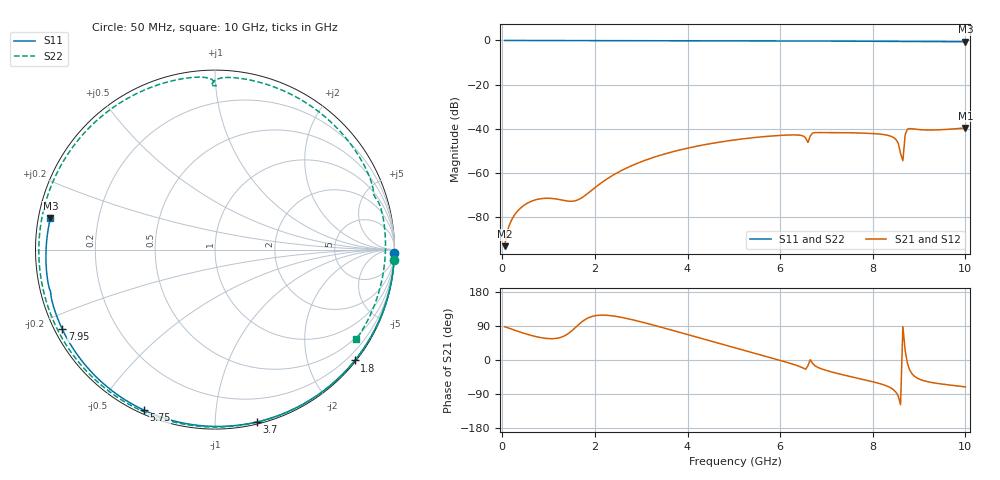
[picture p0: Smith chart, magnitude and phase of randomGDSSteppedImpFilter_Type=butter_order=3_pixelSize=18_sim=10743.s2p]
! freq	dB(S11)	phase(S11)	dB(S12)	phase(S12)
!  dB(S21)	phase(S21)	dB(S22)	phase(S22)
!S-par simulation data
#  GHz  S  DB  R 50
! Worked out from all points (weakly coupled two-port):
!   200 points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, 50 MHz to 10 GHz, reference 50 ohm
!   highest |S21| = -39.61 dB at 10 GHz (marker M1); lowest = -93.2 dB at 50 MHz (marker M2)
!   lowest |S11| = -0.6 dB at 10 GHz (marker M3), VSWR 29.14, Z = 1.73 + j4.74 ohm
!   |S11| at or under -10 dB: nowhere
!   |S22| runs from -0.8 to 0.0 dB; largest |S21 - S12| = 0
!   S11 on the Smith chart (normalised r, x): 50 MHz: open; 1.8 GHz: 0.03, -2.87; 3.7 GHz: 0.02, -1.27; 5.75 GHz: 0.02, -0.65; 7.95 GHz: 0.02, -0.24; 10 GHz: 0.03, +0.09
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0.05  -0.00 -1.1  -93.25 87.9  -93.25 87.9  -0.00 -3.3
0.45  -0.01 -9.8  -75.01 71.2  -75.01 71.2  -0.04 -29.3
0.9  -0.02 -19.4  -71.58 57.7  -71.58 57.7  -0.07 -57.0
1.5  -0.04 -32.1  -72.90 76.9  -72.90 76.9  -0.10 -89.8
1.75  -0.05 -37.4  -70.84 103.6  -70.84 103.6  -0.11 -102.0
1.8  -0.05 -38.4  -70.07 107.5  -70.07 107.5  -0.11 -104.4
2.6  -0.07 -54.8  -58.67 111.9  -58.67 111.9  -0.13 -138.3
3.4  -0.09 -70.6  -52.11 87.6  -52.11 87.6  -0.15 -167.1
3.7  -0.10 -76.3  -50.34 77.4  -50.34 77.4  -0.16 -177.0
5.05  -0.16 -101.4  -44.99 31.2  -44.99 31.2  -0.21 140.5
5.75  -0.19 -113.9  -43.42 7.4  -43.42 7.4  -0.24 118.6
6.45  -0.24 -126.2  -43.02 -18.7  -43.02 -18.7  -0.31 95.2
6.6  -0.25 -128.8  -46.23 -15.1  -46.23 -15.1  -0.80 89.6
6.7  -0.25 -130.5  -41.97 -9.0  -41.97 -9.0  -0.47 89.9
7.95  -0.36 -152.5  -42.15 -56.0  -42.15 -56.0  -0.36 44.7
8.35  -0.40 -159.6  -43.14 -71.1  -43.14 -71.1  -0.40 29.9
8.55  -0.43 -163.3  -46.56 -95.1  -46.56 -95.1  -0.47 22.4
8.65  -0.48 -165.1  -54.49 88.4  -54.49 88.4  -0.57 19.1
8.7  -0.48 -165.8  -42.68 24.7  -42.68 24.7  -0.54 17.9
8.75  -0.47 -166.6  -40.19 -9.4  -40.19 -9.4  -0.46 16.1
9.35  -0.51 -178.0  -40.55 -61.0  -40.55 -61.0  -0.48 -7.3
10  -0.60 169.2  -39.61 -71.0  -39.61 -71.0  -0.61 -32.4
